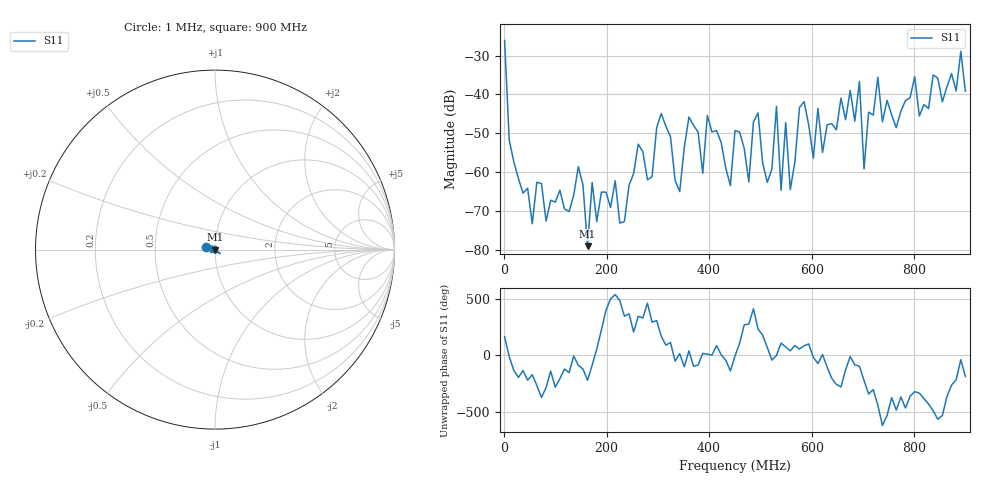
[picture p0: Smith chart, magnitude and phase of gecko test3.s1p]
! File created by NanoVNA (https://gen111.taobao.com/)
! Start 1000000Hz  Stop 899999800Hz  Points 101
# HZ S MA R 50
!S - Parameter data, F S11
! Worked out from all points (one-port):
!   101 points, 1 MHz to 900 MHz, reference 50 ohm
!   lowest |S11| = -79.1 dB at 162.8 MHz (marker M1), VSWR 1.00, Z = 50 + j0.00692 ohm
!   |S11| at or under -10 dB: start of sweep to end of sweep
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1000000  0.04959 163.8
9989900  0.002597 -10.5
5.49399e7  0.0002149 -169.9
1.178699e8  0.0003329 -119.9
1.448399e8  0.001174 -87.8
1.628199e8  0.0001107 141.3
1.718099e8  0.0007344 -86.8
2.347399e8  0.0002301 -14.9
3.066599e8  0.005653 167.3
3.426199e8  0.0005595 14.7
3.605999e8  0.005107 40.0
4.415099e8  0.000668 -137.0
4.504999e8  0.003416 -5.5
4.774698e8  0.0007447 -84.1
4.954498e8  0.005765 -127.4
5.134298e8  0.0007368 70.4
5.314098e8  0.007008 -0.9
5.403998e8  0.0005799 108.1
5.493898e8  0.004324 73.2
5.673698e8  0.001356 86.6
5.853498e8  0.008051 84.7
6.033298e8  0.001506 -17.9
6.842398e8  0.004526 -83.9
6.932298e8  0.01472 -95.6
7.022198e8  0.001094 140.3
7.291898e8  0.01667 -79.3
7.921198e8  0.009078 -0.2
8.999998e8  0.011 173.3
